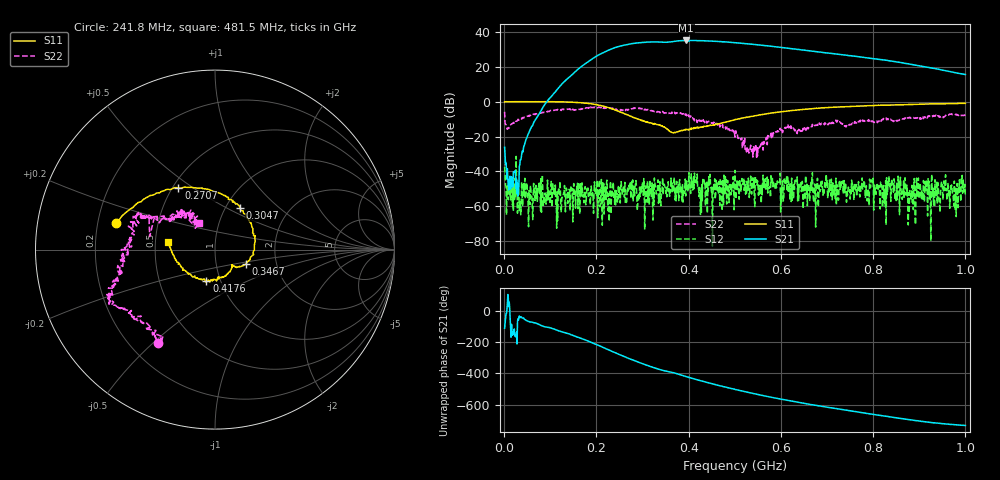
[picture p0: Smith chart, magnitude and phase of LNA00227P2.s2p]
! Created with skrf 1.9.0 (http://scikit-rf.org).
# Hz S RI R 50.0
!freq ReS11 ImS11 ReS21 ImS21 ReS12 ImS12 ReS22 ImS22
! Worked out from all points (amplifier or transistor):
!   1001 points, 1 MHz to 1 GHz, reference 50 ohm
!   highest |S21| = 35.0 dB at 394.6 MHz (marker M1)
!   |S21| within 3 dB of that: 255.5 MHz to 568 MHz (312.6 MHz wide, 75.9 % of centre)
!   unconditionally stable (mu >= 1): start of sweep to 93.65 MHz; 169.3 MHz to 187.6 MHz; 215.8 MHz to end of sweep (the widest 3 of 18)
!   at 166.8 MHz: K = 1.29, MAG = 31.2 dB, |S12| = -49.0 dB
!   at 500.5 MHz: K = 1.09, MAG = 34.8 dB, |S12| = -39.4 dB
!   at 1 GHz: K = 7.85, MAG = 23.1 dB, |S12| = -54.6 dB
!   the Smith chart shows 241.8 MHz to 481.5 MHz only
!   S11 on the Smith chart (normalised r, x): 241.8 MHz: 0.28, +0.12; 270.7 MHz: 0.54, +0.44; 304.7 MHz: 1.17, +0.58; 346.7 MHz: 1.40, -0.24; 417.6 MHz: 0.86, -0.31; 481.5 MHz: 0.59, +0.06
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1000000  0.9785 -0.00035  -0.0184 -0.0456  -0.0135 -0.00135  0.3908 0.326
1.08892e8  0.5091 -0.8518  -0.8418 -1.573  0.00162 0.00272  0.4266 -0.371
1.67833e8  -0.249 -0.891  -10.19 -0.4719  -0.00123 0.0014  0.0429 -0.621
2.08792e8  -0.6731 -0.3816  -15.82 16.98  0.000885 -0.000808  -0.1942 -0.6584
2.41759e8  -0.5503 0.1494  -0.3778 35.63  -0.00107 0.000262  -0.3166 -0.5184
2.7073e8  -0.204 0.3419  25.57 35.92  -0.00317 -0.00246  -0.5153 -0.3312
3.04696e8  0.1394 0.2311  47.88 14.1  -0.000198 8.71e-05  -0.5704 -0.2064
3.34666e8  0.2164 -0.0055  49.72 -11.58  0.000578 0.00107  -0.5075 -0.0372
3.46654e8  0.1736 -0.0815  46.28 -19.55  -0.000606 0.00428  -0.4722 0.00761
3.72628e8  0.0955 -0.0916  41.36 -35.04  -0.00106 0.000969  -0.4365 0.164
3.94606e8  0.0505 -0.1513  27.72 -49.14  0.00114 0.00402  -0.3939 0.1875
4.17583e8  -0.0479 -0.1737  9.676 -55.01  0.000571 0.00466  -0.2238 0.1889
4.45555e8  -0.1712 -0.1137  -11.35 -53.15  0.00381 0.00322  -0.1732 0.2146
4.81519e8  -0.2599 0.0444  -32.09 -39.71  0.0048 0.00327  -0.089 0.1468
5.005e8  -0.2715 0.1485  -38.79 -29.76  0.00742 0.00777  -0.0476 0.0836
5.4046e8  -0.1826 0.3408  -42.61 -8.589  0.0033 -0.000771  -0.0407 0.0343
5.88412e8  0.0234 0.4873  -35.4 11.59  0.000567 -0.00393  -0.1111 -0.0796
6.67333e8  0.3934 0.4925  -13.89 24  0.00469 -0.00469  -0.1825 -0.0563
7.53247e8  0.6726 0.2803  3.675 20.04  -0.00473 -0.0031  -0.2239 -0.00923
8.34166e8  0.7927 0.0184  10.8 10.21  -0.00244 -0.00694  -0.2996 -0.0323
9.14086e8  0.8145 -0.2582  9.632 1.748  0.00256 0.00128  -0.3289 0.0938
1e9  0.7248 -0.52  5.832 -1.279  0.00185 -0.000158  -0.3324 0.2463
